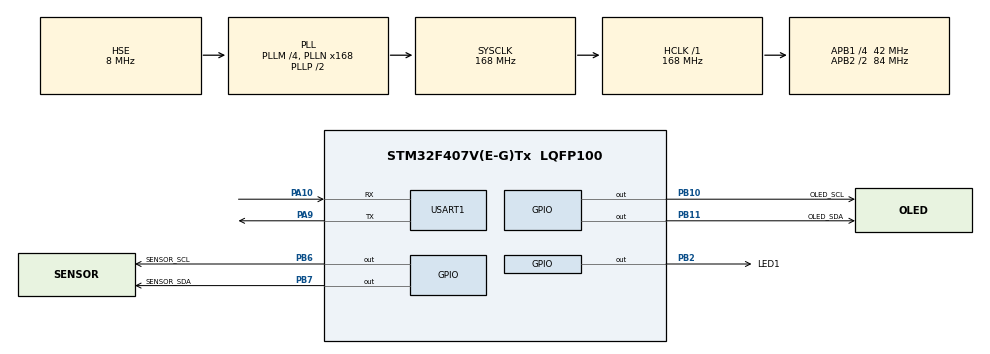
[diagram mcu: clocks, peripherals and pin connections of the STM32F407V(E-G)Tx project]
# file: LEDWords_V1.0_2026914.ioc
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FREERTOS.Mutexes01=I2C_Mutex,Dynamic,NULL,Available
FREERTOS.Queues01=SensorQueue,10,24,1,Dynamic,NULL,NULL;DisplayQueue,10,24,1,Dynamic,NULL,NULL
FREERTOS.Tasks01=LED_Task1,24,128,StartLED_Task1,Default,NULL,Dynamic,NULL,NULL;LED_Task2,24,128,StartLED_Task2,Default,NULL,Dynamic,NULL,NULL;SensorTask,24,128,StartSensorTask,Default,NULL,Dynamic,NULL,NULL;ProcessTask,24,512,StartProcessTask,Default,NULL,Dynamic,NULL,NULL;DisplayTask,24,256,StartDisplayTask,Default,NULL,Dynamic,NULL,NULL
Mcu.Family=STM32F4
Mcu.Name=STM32F407V(E-G)Tx
Mcu.Package=LQFP100
NVIC.PriorityGroup=NVIC_PRIORITYGROUP_4
PA10.Mode=Asynchronous
PA10.Signal=USART1_RX
PA13.Mode=Serial_Wire
PA13.Signal=SYS_JTMS-SWDIO
PA14.Mode=Serial_Wire
PA14.Signal=SYS_JTCK-SWCLK
PA9.Mode=Asynchronous
PA9.Signal=USART1_TX
PB10.GPIO_Label=OLED_SCL
PB10.GPIO_ModeDefaultOutputPP=GPIO_MODE_OUTPUT_OD
PB10.GPIO_PuPd=GPIO_PULLUP
PB10.PinState=GPIO_PIN_SET
PB10.Signal=GPIO_Output
PB11.GPIO_Label=OLED_SDA
PB11.GPIO_ModeDefaultOutputPP=GPIO_MODE_OUTPUT_OD
PB11.GPIO_PuPd=GPIO_PULLUP
PB11.PinState=GPIO_PIN_SET
PB11.Signal=GPIO_Output
PB2.GPIO_Label=LED1
PB2.PinState=GPIO_PIN_RESET
PB2.Signal=GPIO_Output
PB6.GPIO_Label=SENSOR_SCL
PB6.GPIO_ModeDefaultOutputPP=GPIO_MODE_OUTPUT_OD
PB6.GPIO_PuPd=GPIO_PULLUP
PB6.PinState=GPIO_PIN_SET
PB6.Signal=GPIO_Output
PB7.GPIO_Label=SENSOR_SDA
PB7.GPIO_ModeDefaultOutputPP=GPIO_MODE_OUTPUT_OD
PB7.GPIO_PuPd=GPIO_PULLUP
PB7.PinState=GPIO_PIN_SET
PB7.Signal=GPIO_Output
PH0-OSC_IN.Mode=HSE-External-Oscillator
PH0-OSC_IN.Signal=RCC_OSC_IN
PH1-OSC_OUT.Mode=HSE-External-Oscillator
PH1-OSC_OUT.Signal=RCC_OSC_OUT
ProjectManager.HeapSize=0x200
ProjectManager.StackSize=0x400
ProjectManager.TargetToolchain=MDK-ARM V5
RCC.48MHZClocksFreq_Value=84000000
RCC.AHBFreq_Value=168000000
RCC.APB1CLKDivider=RCC_HCLK_DIV4
RCC.APB1Freq_Value=42000000
RCC.APB1TimFreq_Value=84000000
RCC.APB2CLKDivider=RCC_HCLK_DIV2
RCC.APB2Freq_Value=84000000
RCC.APB2TimFreq_Value=168000000
RCC.CortexFreq_Value=168000000
RCC.HCLKFreq_Value=168000000
RCC.HSE_VALUE=8000000
RCC.HSI_VALUE=16000000
RCC.LSE_VALUE=32768
RCC.PLLM=4
RCC.PLLN=168
RCC.PLLSourceVirtual=RCC_PLLSOURCE_HSE
RCC.SYSCLKFreq_VALUE=168000000
RCC.SYSCLKSource=RCC_SYSCLKSOURCE_PLLCLK
RCC.VCOOutputFreq_Value=336000000
USART1.VirtualMode=VM_ASYNC
VP_FREERTOS_VS_CMSIS_V2.Mode=CMSIS_V2
board=custom

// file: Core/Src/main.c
/* USER CODE BEGIN Header */
/**
  ******************************************************************************
  * @file           : main.c
  * @brief          : Main program body
  ******************************************************************************
  * @attention
  *
  * Copyright (c) 2026 STMicroelectronics.
  * All rights reserved.
  *
  * This software is licensed under terms that can be found in the LICENSE file
  * in the root directory of this software component.
  * If no LICENSE file comes with this software, it is provided AS-IS.
  *
  ******************************************************************************
  */
/* USER CODE END Header */
#include "main.h"
#include "cmsis_os.h"
#include "usart.h"
#include "gpio.h"

/* USER CODE BEGIN Includes */
#include <stdio.h>
#include <oled.h>
#include "ATH20.h"
#include "BMP280.h"
#include "bsp_i2c.h"
/* USER CODE END Includes */

void SystemClock_Config(void);
void MX_FREERTOS_Init(void);

/* USER CODE BEGIN 0 */

int fputc(int ch, FILE *f)
{
    HAL_UART_Transmit(&huart1,
                      (uint8_t *)&ch,
                      1,
                      HAL_MAX_DELAY);

    return ch;
}

/* USER CODE END 0 */

int main(void)
{

  /* USER CODE BEGIN 1 */
	 uint8_t ret;
//     float P, T, ALT;
//     uint32_t CT_data[2];
//     int c1, t1;

  /* USER CODE END 1 */

  /* MCU Configuration--------------------------------------------------------*/

  /* Reset of all peripherals, Initializes the Flash interface and the Systick. */
  HAL_Init();

  /* Configure the system clock */
  SystemClock_Config();

  /* Initialize all configured peripherals */
  MX_GPIO_Init();
  MX_USART1_UART_Init();
  /* USER CODE BEGIN 2 */
  /* OLED */
  OLED_Init();
  OLED_Clear();
  OLED_ShowString(0, 0, (uint8_t *)"OLED OK", 16, 1);
  OLED_Refresh();

  /* Sensor I2C */
  I2C_Bus_Init();

  /* Sensor init */
  ret = ATH20_Init();

  printf("AHT20 Init ret = 0x%02X\r\n", ret);

  if(ret == 0)
  {
      printf("AHT20 Init Error\r\n");
  }
  else
  {
      printf("AHT20 Init OK\r\n");
  }

  ret = BMP280_Init();
  if(ret != 0x58)
  {
      printf("BMP280 Init Error\r\n");
  }
  else
  {
      printf("BMP280 Init OK\r\n");
  }
  /* USER CODE END 2 */

  /* Init scheduler */
  osKernelInitialize();  /* Call init function for freertos objects (in cmsis_os2.c) */
  MX_FREERTOS_Init();

  /* Start scheduler */
  osKernelStart();

  /* We should never get here as control is now taken by the scheduler */

  /* Infinite loop */
  /* USER CODE BEGIN WHILE */
  while (1)
  {
//	  HAL_GPIO_WritePin(LED1_GPIO_Port, LED1_Pin, GPIO_PIN_RESET);
//	  HAL_Delay(500);
//	  HAL_GPIO_WritePin(LED1_GPIO_Port, LED1_Pin, GPIO_PIN_SET);
//	  HAL_Delay(500);

	  HAL_GPIO_TogglePin(LED1_GPIO_Port, LED1_Pin);
	  HAL_Delay(500);
    /* USER CODE END WHILE */

  }
}

void SystemClock_Config(void)
{
  RCC_OscInitTypeDef RCC_OscInitStruct = {0};
  RCC_ClkInitTypeDef RCC_ClkInitStruct = {0};

  /** Configure the main internal regulator output voltage
  */
  __HAL_RCC_PWR_CLK_ENABLE();
  __HAL_PWR_VOLTAGESCALING_CONFIG(PWR_REGULATOR_VOLTAGE_SCALE1);

  /** Initializes the RCC Oscillators according to the specified parameters
  * in the RCC_OscInitTypeDef structure.
  */
  RCC_OscInitStruct.OscillatorType = RCC_OSCILLATORTYPE_HSE;
  RCC_OscInitStruct.HSEState = RCC_HSE_ON;
  RCC_OscInitStruct.PLL.PLLState = RCC_PLL_ON;
  RCC_OscInitStruct.PLL.PLLSource = RCC_PLLSOURCE_HSE;
  RCC_OscInitStruct.PLL.PLLM = 4;
  RCC_OscInitStruct.PLL.PLLN = 168;
  RCC_OscInitStruct.PLL.PLLP = RCC_PLLP_DIV2;
  RCC_OscInitStruct.PLL.PLLQ = 4;
  if (HAL_RCC_OscConfig(&RCC_OscInitStruct) != HAL_OK)
  {
    Error_Handler();
  }

  /** Initializes the CPU, AHB and APB buses clocks
  */
  RCC_ClkInitStruct.ClockType = RCC_CLOCKTYPE_HCLK|RCC_CLOCKTYPE_SYSCLK
                              |RCC_CLOCKTYPE_PCLK1|RCC_CLOCKTYPE_PCLK2;
  RCC_ClkInitStruct.SYSCLKSource = RCC_SYSCLKSOURCE_PLLCLK;
  RCC_ClkInitStruct.AHBCLKDivider = RCC_SYSCLK_DIV1;
  RCC_ClkInitStruct.APB1CLKDivider = RCC_HCLK_DIV4;
  RCC_ClkInitStruct.APB2CLKDivider = RCC_HCLK_DIV2;

  if (HAL_RCC_ClockConfig(&RCC_ClkInitStruct, FLASH_LATENCY_5) != HAL_OK)
  {
    Error_Handler();
  }
}

void Error_Handler(void)
{
  __disable_irq();
  while (1)
  {
  }
}

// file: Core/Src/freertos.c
/* USER CODE BEGIN Header */
/**
  ******************************************************************************
  * File Name          : freertos.c
  * Description        : Code for freertos applications
  ******************************************************************************
  * @attention
  *
  * Copyright (c) 2026 STMicroelectronics.
  * All rights reserved.
  *
  * This software is licensed under terms that can be found in the LICENSE file
  * in the root directory of this software component.
  * If no LICENSE file comes with this software, it is provided AS-IS.
  *
  ******************************************************************************
  */
/* USER CODE END Header */

#include "FreeRTOS.h"
#include "task.h"
#include "main.h"
#include "cmsis_os.h"

/* USER CODE BEGIN Includes */
#include <inttypes.h>
#include <stdio.h>
#include "usart.h"
#include "ATH20.h"
#include "BMP280.h"
#include "bsp_i2c.h"
#include "oled.h"
#include "i2c_bus.h"
/* USER CODE END Includes */

/* USER CODE BEGIN PTD */
//typedef struct
//{
//    uint16_t id;
//    uint32_t value;
//    uint32_t timestamp;

//} SensorMsg;
typedef struct
{
    int32_t aht_temp_x10;
    int32_t humidity_x10;

    int32_t bmp_temp_x10;
    int32_t pressure_x10;
    int32_t altitude_x10;

    uint32_t timestamp;

} SensorMsg;

/* USER CODE BEGIN PTD */

/* USER CODE END PTD */

/* USER CODE BEGIN Variables */

extern UART_HandleTypeDef huart1;

/* USER CODE END Variables */
/* Definitions for LED_Task1 */
osThreadId_t LED_Task1Handle;
const osThreadAttr_t LED_Task1_attributes = {
  .name = "LED_Task1",
  .stack_size = 128 * 4,
  .priority = (osPriority_t) osPriorityNormal,
};
/* Definitions for LED_Task2 */
osThreadId_t LED_Task2Handle;
const osThreadAttr_t LED_Task2_attributes = {
  .name = "LED_Task2",
  .stack_size = 128 * 4,
  .priority = (osPriority_t) osPriorityNormal,
};
/* Definitions for SensorTask */
osThreadId_t SensorTaskHandle;
const osThreadAttr_t SensorTask_attributes = {
  .name = "SensorTask",
  .stack_size = 128 * 4,
  .priority = (osPriority_t) osPriorityNormal,
};
/* Definitions for ProcessTask */
osThreadId_t ProcessTaskHandle;
const osThreadAttr_t ProcessTask_attributes = {
  .name = "ProcessTask",
  .stack_size = 512 * 4,
  .priority = (osPriority_t) osPriorityNormal,
};
/* Definitions for DisplayTask */
osThreadId_t DisplayTaskHandle;
const osThreadAttr_t DisplayTask_attributes = {
  .name = "DisplayTask",
  .stack_size = 256 * 4,
  .priority = (osPriority_t) osPriorityNormal,
};
/* Definitions for SensorQueue */
osMessageQueueId_t SensorQueueHandle;
const osMessageQueueAttr_t SensorQueue_attributes = {
  .name = "SensorQueue"
};
/* Definitions for DisplayQueue */
osMessageQueueId_t DisplayQueueHandle;
const osMessageQueueAttr_t DisplayQueue_attributes = {
  .name = "DisplayQueue"
};
/* Definitions for I2C_Mutex */
osMutexId_t I2C_MutexHandle;
const osMutexAttr_t I2C_Mutex_attributes = {
  .name = "I2C_Mutex"
};

void StartLED_Task1(void *argument);
void StartLED_Task2(void *argument);
void StartSensorTask(void *argument);
void StartProcessTask(void *argument);
void StartDisplayTask(void *argument);

void MX_FREERTOS_Init(void); /* (MISRA C 2004 rule 8.1) */

void MX_FREERTOS_Init(void) {
  /* Create the mutex(es) */
  /* creation of I2C_Mutex */
  I2C_MutexHandle = osMutexNew(&I2C_Mutex_attributes);

  /* Create the queue(s) */
  /* creation of SensorQueue */
  SensorQueueHandle = osMessageQueueNew (10, 24, &SensorQueue_attributes);

  /* creation of DisplayQueue */
  DisplayQueueHandle = osMessageQueueNew (10, 24, &DisplayQueue_attributes);

  /* Create the thread(s) */
  /* creation of LED_Task1 */
  LED_Task1Handle = osThreadNew(StartLED_Task1, NULL, &LED_Task1_attributes);

  /* creation of LED_Task2 */
  LED_Task2Handle = osThreadNew(StartLED_Task2, NULL, &LED_Task2_attributes);

  /* creation of SensorTask */
  SensorTaskHandle = osThreadNew(StartSensorTask, NULL, &SensorTask_attributes);

  /* creation of ProcessTask */
  ProcessTaskHandle = osThreadNew(StartProcessTask, NULL, &ProcessTask_attributes);

  /* creation of DisplayTask */
  DisplayTaskHandle = osThreadNew(StartDisplayTask, NULL, &DisplayTask_attributes);

}

void StartLED_Task1(void *argument)
{
  /* USER CODE BEGIN StartLED_Task1 */
  /* Infinite loop */
  for(;;)
  {
	  HAL_GPIO_TogglePin(GPIOB, GPIO_PIN_2);
      osDelay(500);
  }
  /* USER CODE END StartLED_Task1 */
}

void StartLED_Task2(void *argument)
{
  /* USER CODE BEGIN StartLED_Task2 */
  /* Infinite loop */
  for(;;)
  {
	  osDelay(1000);
  }
  /* USER CODE END StartLED_Task2 */
}

void StartSensorTask(void *argument)
{
  /* USER CODE BEGIN StartSensorTask */
  /* Infinite loop */
	//uint32_t sensor_data = 0;
	SensorMsg sensor_msg = {0};

	uint32_t CT_data[2];

    int c1;
    int t1;

    float P;
    float T;
    float ALT;

	osStatus_t mutex_status;

  for(;;)
  {
	   /* AHT20 */

	  mutex_status = I2C_Bus_Lock();

//        if(ATH20_Read_Cal_Enable() == 0)
//        {
//            ATH20_Init();
//            osDelay(30);
//        }
		if(mutex_status == osOK)
		{
			if(ATH20_Read_Cal_Enable() == 0)
            {
				ATH20_Init();
				osDelay(30);
			}
			ATH20_Read_CTdata(CT_data);
			I2C_Bus_Unlock();
		}

        //ATH20_Read_CTdata(CT_data);

		//osMutexRelease(I2C_MutexHandle);

        c1 = CT_data[0] * 1000 / 1024 / 1024;
        t1 = CT_data[1] * 200 * 10 / 1024 / 1024 - 500;

        /* BMP280 */

		mutex_status = I2C_Bus_Lock();
		//osMutexAcquire(I2C_MutexHandle, osWaitForever);

		if(mutex_status == osOK)
		{
			BMP280GetData(&P, &T, &ALT);

			I2C_Bus_Unlock();
		}
        //BMP280GetData(&P, &T, &ALT);

		//osMutexRelease(I2C_MutexHandle);

        /* Pack sensor message */
        sensor_msg.aht_temp_x10 = t1;
        sensor_msg.humidity_x10 = c1;

        sensor_msg.bmp_temp_x10 = (int32_t)(T * 10.0f);
        sensor_msg.pressure_x10 = (int32_t)(P * 10.0f);
        sensor_msg.altitude_x10 = (int32_t)(ALT * 10.0f);

	  sensor_msg.timestamp = HAL_GetTick();

	  osMessageQueuePut(
			SensorQueueHandle,
			&sensor_msg,
			0,
			100
	  );
	  osMessageQueuePut(
			DisplayQueueHandle,
			&sensor_msg,
			0,
			100
	  );
	//sensor_count++;
    osDelay(1000);
  }
  /* USER CODE END StartSensorTask */
}

void StartProcessTask(void *argument)
{
  /* USER CODE BEGIN StartProcessTask */
  /* Infinite loop */
	//uint32_t recv_data;
	SensorMsg recv_msg;
  for(;;)
  {
	  //uint32_t recv_data;
	  if(osMessageQueueGet(
		  SensorQueueHandle,
		  &recv_msg,
	      NULL,
	      osWaitForever
	  ) == osOK)
	  {
		  printf("\n");
		  printf("AHT20 Temp: %d.%d C\r\n",
                   recv_msg.aht_temp_x10 / 10,
                   recv_msg.aht_temp_x10 % 10);

            printf("AHT20 Humi: %d.%d %%\r\n",
                   recv_msg.humidity_x10 / 10,
                   recv_msg.humidity_x10 % 10);

            printf("BMP280 Temp: %d.%d C\r\n",
                   recv_msg.bmp_temp_x10 / 10,
                   recv_msg.bmp_temp_x10 % 10);

            printf("BMP280 Press: %d.%d hPa\r\n",
                   recv_msg.pressure_x10 / 10,
                   recv_msg.pressure_x10 % 10);

            printf("BMP280 Alt: %d.%d m\r\n",
                   recv_msg.altitude_x10 / 10,
                   recv_msg.altitude_x10 % 10);

            printf("--------------------\r\n");
		  //process_count++;
		  //HAL_GPIO_TogglePin(GPIOB, GPIO_PIN_2);
		  //printf("ID:%" PRIu16 "Value:%" PRIu32 "Time:%"PRIu32 "\r\n",
		  //recv_msg.id,
		  //recv_msg.value,
		  //recv_msg.timestamp);
		  //char test[] = "ProcessTask OK\r\n";

		  //printf("ProcessTask OK\r\n");

		  //HAL_UART_Transmit(&huart1, (uint8_t *)test, sizeof(test) - 1, 100);
	  }
    //osDelay(1000);
  }
  /* USER CODE END StartProcessTask */
}

void StartDisplayTask(void *argument)
{
  /* USER CODE BEGIN StartDisplayTask */
	SensorMsg display_msg;

    char line1[24];
    char line2[24];
    char line3[24];
    char line4[24];
  /* Infinite loop */
  for(;;)
  {
	  if(osMessageQueueGet(
            DisplayQueueHandle,
            &display_msg,
            NULL,
            osWaitForever
        ) == osOK)
        {
            sprintf(line1, "T:%d.%d C",
                    display_msg.aht_temp_x10 / 10,
                    display_msg.aht_temp_x10 % 10);

            sprintf(line2, "H:%d.%d %%",
                    display_msg.humidity_x10 / 10,
                    display_msg.humidity_x10 % 10);

            sprintf(line3, "P:%d.%d hPa",
                    display_msg.pressure_x10 / 10,
                    display_msg.pressure_x10 % 10);

            sprintf(line4, "Alt:%d.%d m",
                    display_msg.altitude_x10 / 10,
                    display_msg.altitude_x10 % 10);

            OLED_Clear();

            OLED_ShowString(0,  0, (uint8_t *)line1, 16, 1);
            OLED_ShowString(0, 16, (uint8_t *)line2, 16, 1);
            OLED_ShowString(0, 32, (uint8_t *)line3, 16, 1);
            OLED_ShowString(0, 48, (uint8_t *)line4, 16, 1);

            OLED_Refresh();
		}

  }
  /* USER CODE END StartDisplayTask */
}
